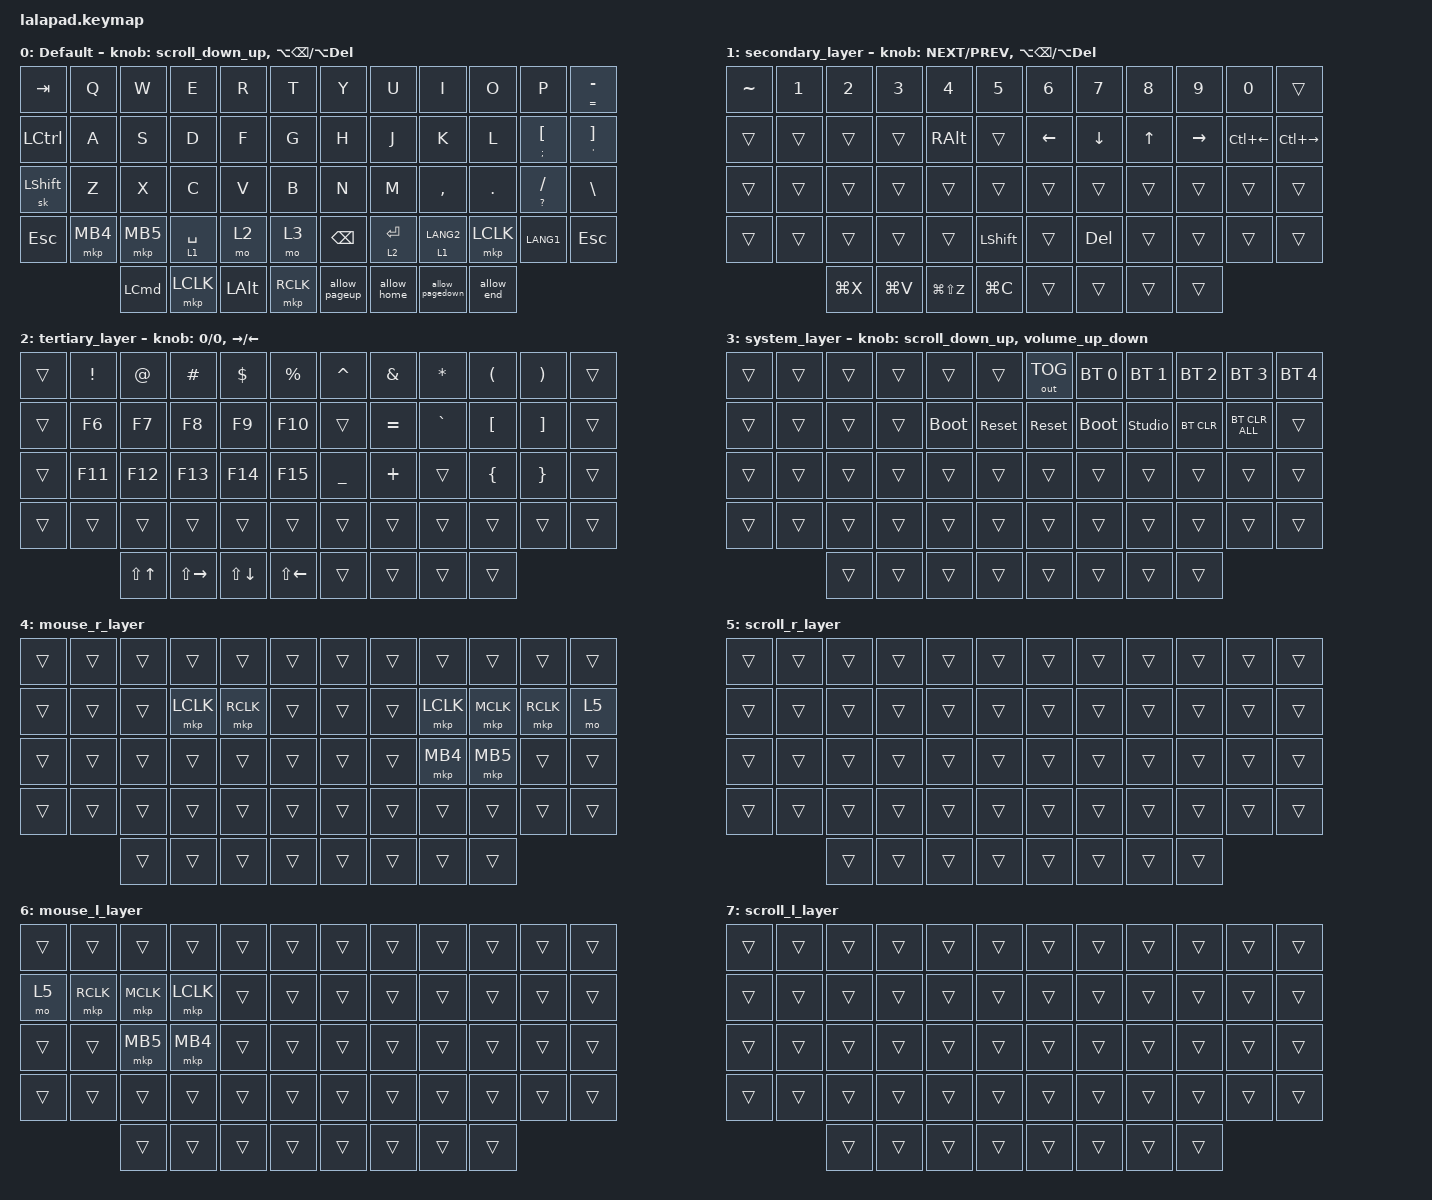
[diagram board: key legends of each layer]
#include <input/processors.dtsi>
#include <behaviors.dtsi>
#include <dt-bindings/zmk/bt.h>
#include <dt-bindings/zmk/keys.h>
#include <dt-bindings/zmk/outputs.h>
#include <dt-bindings/zmk/pointing.h>

#define DEFAULT_LAYER   0
#define SECONDARY_LAYER 1
#define TERTIARY_LAYER  2
#define SYSTEM_LAYER    3
#define MOUSE_R_LAYER   4
#define SCROLL_R_LAYER  5
#define MOUSE_L_LAYER   6
#define SCROLL_L_LAYER  7

// Mouse Scroll Value

#define ZMK_POINTING_DEFAULT_SCRL_VAL 100

// cirque trackpad input&layer control

&glidepoint_listener_R {
    input-processors =
        <&zip_xy_transform (INPUT_TRANSFORM_XY_SWAP | INPUT_TRANSFORM_X_INVERT | INPUT_TRANSFORM_Y_INVERT)>,
        <&zip_xy_scaler 3 2>,
        <&zip_temp_layer MOUSE_R_LAYER 500>;

    lowspeedmode {
        layers = <SECONDARY_LAYER>;
        input-processors =
            <&zip_xy_transform (INPUT_TRANSFORM_XY_SWAP | INPUT_TRANSFORM_X_INVERT | INPUT_TRANSFORM_Y_INVERT)>,
            <&zip_xy_scaler 3 5>,
            <&zip_temp_layer MOUSE_R_LAYER 500>;
    };

    scroller {
        layers = <SCROLL_R_LAYER>;
        input-processors =
            <&zip_xy_to_scroll_mapper>,
            <&zip_scroll_transform (INPUT_TRANSFORM_XY_SWAP | INPUT_TRANSFORM_Y_INVERT)>,
            <&zip_scroll_scaler 1 8>;
    };
};

&glidepoint_listener_L {
    input-processors =
        <&zip_xy_transform (INPUT_TRANSFORM_XY_SWAP | INPUT_TRANSFORM_X_INVERT | INPUT_TRANSFORM_Y_INVERT)>,
        <&zip_xy_scaler 3 2>,
        <&zip_temp_layer MOUSE_L_LAYER 500>;

    lowspeedmode {
        layers = <SECONDARY_LAYER>;
        input-processors =
            <&zip_xy_transform (INPUT_TRANSFORM_XY_SWAP | INPUT_TRANSFORM_X_INVERT | INPUT_TRANSFORM_Y_INVERT)>,
            <&zip_xy_scaler 3 4>,
            <&zip_temp_layer MOUSE_L_LAYER 500>;
    };

    scroller {
        layers = <SCROLL_L_LAYER>;
        input-processors =
            <&zip_xy_to_scroll_mapper>,
            <&zip_scroll_transform (INPUT_TRANSFORM_XY_SWAP | INPUT_TRANSFORM_Y_INVERT)>,
            <&zip_scroll_scaler 1 6>;
    };
};

/ {
    behaviors {
        // Encoder to Mouse Scroll

        scroll_up_down: sensor_scroll_up_down {
            compatible = "zmk,behavior-sensor-rotate";
            #sensor-binding-cells = <0>;
            bindings = <&msc SCRL_UP>, <&msc SCRL_DOWN>;

            tap-ms = <20>;
            label = "SCROLL_UP_DOWN";
        };

        scroll_down_up: sensor_scroll_down_up {
            compatible = "zmk,behavior-sensor-rotate";
            #sensor-binding-cells = <0>;
            bindings = <&msc SCRL_DOWN>, <&msc SCRL_UP>;

            tap-ms = <20>;
            label = "SCROLL_DOWN_UP";
        };

        scroll_left_right: sensor_scroll_left_right {
            compatible = "zmk,behavior-sensor-rotate";
            #sensor-binding-cells = <0>;
            bindings = <&msc SCRL_LEFT>, <&msc SCRL_RIGHT>;

            tap-ms = <20>;
            label = "SCROLL_LEFT_RIGHT";
        };

        scroll_right_left: sensor_scroll_right_left {
            compatible = "zmk,behavior-sensor-rotate";
            #sensor-binding-cells = <0>;
            bindings = <&msc SCRL_RIGHT>, <&msc SCRL_LEFT>;

            tap-ms = <20>;
            label = "SCROLL_RIGHT_LEFT";
        };

        volume_up_down: sensor_volume_up_down {
            compatible = "zmk,behavior-sensor-rotate";
            #sensor-binding-cells = <0>;
            bindings = <&kp C_VOLUME_UP>, <&kp C_VOLUME_DOWN>;

            tap-ms = <20>;
            label = "VOLUME_UP_DOWN";
        };

        dot_comma: dot_comma {
            compatible = "zmk,behavior-mod-morph";
            #binding-cells = <0>;
            bindings = <&kp KP_DOT>, <&kp COMMA>;

            mods = <(MOD_LSFT|MOD_RSFT)>;
            label = "DOT_COMMA";
        };

        pls_minus: pls_minus {
            compatible = "zmk,behavior-mod-morph";
            #binding-cells = <0>;
            bindings = <&kp PLUS>, <&kp MINUS>;

            mods = <(MOD_LSFT|MOD_RSFT)>;
            label = "PLS_MINUS";
        };

        allow_pageup: allow_pageup {
            compatible = "zmk,behavior-mod-morph";
            #binding-cells = <0>;
            bindings = <&kp UP>, <&kp PAGE_UP>;

            mods = <(MOD_LCTL|MOD_RCTL)>;
            label = "ALLOW_PAGEUP";
        };

        allow_pagedown: allow_pagedown {
            compatible = "zmk,behavior-mod-morph";
            #binding-cells = <0>;
            bindings = <&kp DOWN>, <&kp PAGE_DOWN>;

            mods = <(MOD_LCTL|MOD_RCTL)>;
            label = "ALLOW_PAGEDOWN";
        };

        allow_home: allow_home {
            compatible = "zmk,behavior-mod-morph";
            #binding-cells = <0>;
            bindings = <&kp LEFT>, <&kp HOME>;

            mods = <(MOD_LCTL|MOD_RCTL)>;
            label = "ALLOW_HOME";
        };

        allow_end: allow_end {
            compatible = "zmk,behavior-mod-morph";
            #binding-cells = <0>;
            bindings = <&kp RIGHT>, <&kp END>;

            mods = <(MOD_LCTL|MOD_RCTL)>;
            label = "ALLOW_END";
        };

        mt2: mod_tap2 {
            compatible = "zmk,behavior-hold-tap";
            #binding-cells = <2>;
            flavor = "tap-preferred";
            tapping-term-ms = <200>;
            quick-tap-ms = <200>;
            require-prior-idle-ms = <125>;
            bindings = <&kp>, <&kp>;
        };
    };

    keymap {
        compatible = "zmk,keymap";

        DEFAULT_LAYER {
            display-name = "Default";
            sensor-bindings =
                <&scroll_down_up>,
                <&inc_dec_kp LA(BACKSPACE) LA(DELETE)>;

            bindings = <
&kp TAB     &kp Q     &kp W             &kp E        &kp R         &kp T      &kp Y          &kp U        &kp I            &kp O       &kp P                &mt EQUAL MINUS
&kp LCTRL   &kp A     &kp S             &kp D        &kp F         &kp G      &kp H          &kp J        &kp K            &kp L       &mt2 SEMI LBKT       &mt2 SQT RBKT
&sk LSHFT   &kp Z     &kp X             &kp C        &kp V         &kp B      &kp N          &kp M        &kp COMMA        &kp PERIOD  &mt2 QUESTION SLASH  &kp BSLH
&kp ESCAPE  &mkp MB4  &mkp MB5          &lt 1 SPACE  &mo 2         &mo 3      &kp BACKSPACE  &lt 2 ENTER  &lt 1 LANG2      &mkp LCLK   &kp LANG1            &kp ESCAPE
                      &kp LEFT_COMMAND  &mkp LCLK    &kp LEFT_ALT  &mkp RCLK  &allow_pageup  &allow_home  &allow_pagedown  &allow_end
            >;
        };

        SECONDARY_LAYER {
            display-name = "secondary_layer";
            sensor-bindings =
                <&inc_dec_kp K_NEXT K_PREV>,
                <&inc_dec_kp LA(BACKSPACE) LA(DELETE)>;

            bindings = <
&kp TILDE  &kp NUMBER_1  &kp NUMBER_2  &kp NUMBER_3  &kp NUMBER_4   &kp NUMBER_5  &kp NUMBER_6    &kp NUMBER_7  &kp NUMBER_8  &kp NUMBER_9  &kp NUMBER_0  &trans
&trans     &trans        &trans        &trans        &kp RIGHT_ALT  &trans        &kp LEFT_ARROW  &kp DOWN      &kp UP_ARROW  &kp RIGHT     &kp LC(LEFT)  &kp LC(RIGHT)
&trans     &trans        &trans        &trans        &trans         &trans        &trans          &trans        &trans        &trans        &trans        &trans
&trans     &trans        &trans        &trans        &trans         &kp LSHFT     &trans          &kp DELETE    &trans        &trans        &trans        &trans
                         &kp LG(X)     &kp LG(V)     &kp LG(LS(Z))  &kp LG(C)     &trans          &trans        &trans        &trans
            >;
        };

        TERTIARY_LAYER {
            display-name = "tertiary_layer";
            bindings = <
&trans  &kp EXCLAMATION  &kp AT            &kp HASH       &kp DOLLAR          &kp PERCENT   &kp CARET       &kp AMPERSAND  &kp ASTERISK  &kp LEFT_PARENTHESIS  &kp RIGHT_PARENTHESIS  &trans
&trans  &kp F6           &kp F7            &kp F8         &kp F9              &kp F10       &trans          &kp EQUAL      &kp GRAVE     &kp LEFT_BRACKET      &kp RIGHT_BRACKET      &trans
&trans  &kp F11          &kp F12           &kp F13        &kp F14             &kp F15       &kp UNDERSCORE  &kp PLUS       &trans        &kp LEFT_BRACE        &kp RIGHT_BRACE        &trans
&trans  &trans           &trans            &trans         &trans              &trans        &trans          &trans         &trans        &trans                &trans                 &trans
                         &kp LS(UP_ARROW)  &kp LS(RIGHT)  &kp LS(DOWN_ARROW)  &kp LS(LEFT)  &trans          &trans         &trans        &trans
            >;

            sensor-bindings = <&inc_dec_kp 0 0>, <&inc_dec_kp RIGHT LEFT>;
        };

        SYSTEM_LAYER {
            display-name = "system_layer";
            sensor-bindings = <&scroll_down_up>, <&volume_up_down>;

            bindings = <
&trans  &trans  &trans  &trans  &trans       &trans      &out OUT_TOG  &bt BT_SEL 0  &bt BT_SEL 1    &bt BT_SEL 2  &bt BT_SEL 3    &bt BT_SEL 4
&trans  &trans  &trans  &trans  &bootloader  &sys_reset  &sys_reset    &bootloader   &studio_unlock  &bt BT_CLR    &bt BT_CLR_ALL  &trans
&trans  &trans  &trans  &trans  &trans       &trans      &trans        &trans        &trans          &trans        &trans          &trans
&trans  &trans  &trans  &trans  &trans       &trans      &trans        &trans        &trans          &trans        &trans          &trans
                &trans  &trans  &trans       &trans      &trans        &trans        &trans          &trans
            >;
        };

        MOUSE_R_LAYER {
            display-name = "mouse_r_layer";
            bindings = <
&trans  &trans  &trans  &trans     &trans     &trans  &trans  &trans  &trans     &trans     &trans     &trans
&trans  &trans  &trans  &mkp LCLK  &mkp RCLK  &trans  &trans  &trans  &mkp LCLK  &mkp MCLK  &mkp RCLK  &mo 5
&trans  &trans  &trans  &trans     &trans     &trans  &trans  &trans  &mkp MB4   &mkp MB5   &trans     &trans
&trans  &trans  &trans  &trans     &trans     &trans  &trans  &trans  &trans     &trans     &trans     &trans
                &trans  &trans     &trans     &trans  &trans  &trans  &trans     &trans
            >;
        };

        SCROLL_R_LAYER {
            display-name = "scroll_r_layer";
            bindings = <
&trans  &trans  &trans  &trans  &trans  &trans  &trans  &trans  &trans  &trans  &trans  &trans
&trans  &trans  &trans  &trans  &trans  &trans  &trans  &trans  &trans  &trans  &trans  &trans
&trans  &trans  &trans  &trans  &trans  &trans  &trans  &trans  &trans  &trans  &trans  &trans
&trans  &trans  &trans  &trans  &trans  &trans  &trans  &trans  &trans  &trans  &trans  &trans
                &trans  &trans  &trans  &trans  &trans  &trans  &trans  &trans
            >;
        };

        MOUSE_L_LAYER {
            display-name = "mouse_l_layer";
            bindings = <
&trans  &trans     &trans     &trans     &trans  &trans  &trans  &trans  &trans  &trans  &trans  &trans
&mo 5   &mkp RCLK  &mkp MCLK  &mkp LCLK  &trans  &trans  &trans  &trans  &trans  &trans  &trans  &trans
&trans  &trans     &mkp MB5   &mkp MB4   &trans  &trans  &trans  &trans  &trans  &trans  &trans  &trans
&trans  &trans     &trans     &trans     &trans  &trans  &trans  &trans  &trans  &trans  &trans  &trans
                   &trans     &trans     &trans  &trans  &trans  &trans  &trans  &trans
            >;
        };

        SCROLL_L_LAYER {
            display-name = "scroll_l_layer";
            bindings = <
&trans  &trans  &trans  &trans  &trans  &trans  &trans  &trans  &trans  &trans  &trans  &trans
&trans  &trans  &trans  &trans  &trans  &trans  &trans  &trans  &trans  &trans  &trans  &trans
&trans  &trans  &trans  &trans  &trans  &trans  &trans  &trans  &trans  &trans  &trans  &trans
&trans  &trans  &trans  &trans  &trans  &trans  &trans  &trans  &trans  &trans  &trans  &trans
                &trans  &trans  &trans  &trans  &trans  &trans  &trans  &trans
            >;
        };
    };
};
